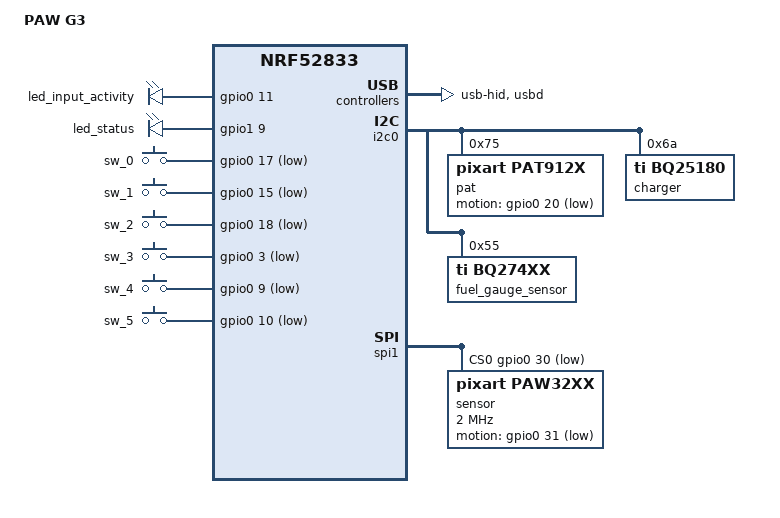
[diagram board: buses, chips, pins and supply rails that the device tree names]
/dts-v1/;
#include <nordic/nrf52833_qdaa.dtsi>
#include "paw_g3-pinctrl.dtsi"
#include <zephyr/dt-bindings/battery/battery.h>
#include <zephyr/dt-bindings/input/input-event-codes.h>
#include <dt-bindings/hid.h>

/ {
	model = "PAW G3";
	compatible = "balto,paw-testboard";

	chosen {
		zephyr,sram = &sram0;
		zephyr,flash = &flash0;
		zephyr,code-partition = &slot0_partition;
	};

	leds {
		compatible = "gpio-leds";
		led_input_activity: led_b {
			gpios = <&gpio0 11 GPIO_ACTIVE_HIGH>;
		};
		led_status: led_a {
			gpios = <&gpio1 9 GPIO_ACTIVE_HIGH>;
		};
	};

	buttons: buttons {
		compatible = "gpio-keys";
		debounce-interval-ms = <3>;

		sw_0 {
			gpios = <&gpio0 17 (GPIO_PULL_UP | GPIO_ACTIVE_LOW)>;
			zephyr,code = <INPUT_BTN_MIDDLE>;
		};
		sw_1 {
			gpios = <&gpio0 15 (GPIO_PULL_UP | GPIO_ACTIVE_LOW)>;
			zephyr,code = <INPUT_BTN_RIGHT>;
		};
		sw_2 {
			gpios = <&gpio0 18 (GPIO_PULL_UP | GPIO_ACTIVE_LOW)>;
			zephyr,code = <INPUT_BTN_LEFT>;
		};

		sw_3 {
			gpios = <&gpio0 3 (GPIO_PULL_UP | GPIO_ACTIVE_LOW)>;
			zephyr,code = <INPUT_BTN_EXTRA>;
		};
		sw_4 {
			gpios = <&gpio0 9 (GPIO_PULL_UP | GPIO_ACTIVE_LOW)>;
			zephyr,code = <INPUT_BTN_TASK>;
		};
		sw_5 {
			gpios = <&gpio0 10 (GPIO_PULL_UP | GPIO_ACTIVE_LOW)>;
			zephyr,code = <INPUT_BTN_SIDE>;
		};
	};

	hid {
		compatible = "hid";
		input {
			hid-mouse {
				compatible = "hid-mouse";
				input = <&paw &pat &buttons>;
				input-id = <1>;
				feature-id = <2>;
				report = <HID_MOUSE_REPORT_HI_RES_WHEEL(1, 2)>;
			};
		};
		output {
			hid-hog {
				compatible = "hid-hog";
			};
			usb-hid {
				compatible = "usb-hid";
				usb-hid-dev = <&hid_dev_0>;
			};
		};
	};

	hid_dev_0: hid_dev_0 {
		compatible = "zephyr,hid-device";
		interface-name = "HID0";
		in-report-size = <16>;
		in-polling-period-us = <1000>;
	};

	ble-unpair {
		input = <&buttons>;
		compatible = "ble-unpair";
		key-a = <INPUT_BTN_LEFT>;
		key-b = <INPUT_BTN_RIGHT>;
	};
};

&uicr {
	nfct-pins-as-gpios;
};

&reg1 {
	regulator-initial-mode = <NRF5X_REG_MODE_DCDC>;
};

&gpiote {
	status = "okay";
};

&gpio0 {
	status = "okay";
};

&gpio1 {
	status = "okay";
};

&i2c0 {
	compatible = "nordic,nrf-twi";
	status = "okay";
	pinctrl-0 = <&i2c0_default>;
	pinctrl-1 = <&i2c0_sleep>;
	pinctrl-names = "default", "sleep";

	pat: pat@75 {
		compatible = "pixart,pat912x";
		reg = <0x75>;
		motion-gpios = <&gpio0 20 GPIO_ACTIVE_LOW>;
		zephyr,axis-x = <INPUT_REL_WHEEL>;
		res-x-cpi = <50>;
		res-y-cpi = <50>;
		invert-x;
	};

	charger: bq25180@6a {
		compatible = "ti,bq25180";
		reg = <0x6a>;
		constant-charge-current-max-microamp = <500000>;
	};

	fuel_gauge_sensor: bq27427@55 {
		compatible = "ti,bq274xx";
		reg = <0x55>;
		design-voltage = <3700>;
		design-capacity = <500>;
		taper-current = <45>;
		terminate-voltage = <3000>;
	};
};

&spi1 {
	compatible = "nordic,nrf-spi";
	status = "okay";
	pinctrl-0 = <&spi1_default>;
	pinctrl-1 = <&spi1_sleep>;
	pinctrl-names = "default", "sleep";

	cs-gpios = <&gpio0 30 GPIO_ACTIVE_LOW>;

	sensor: paw: paw3222@0 {
		compatible = "pixart,paw32xx";
		reg = <0>;
		spi-max-frequency = <DT_FREQ_M(2)>;
		motion-gpios = <&gpio0 31 GPIO_ACTIVE_LOW>;
		zephyr,axis-x = <INPUT_REL_X>;
		zephyr,axis-y = <INPUT_REL_Y>;
		res-cpi = <800>;
		invert-y;
	};
};

&flash0 {
	partitions {
		compatible = "fixed-partitions";
		#address-cells = <1>;
		#size-cells = <1>;

		boot_partition: partition@0 {
			label = "mcuboot";
			reg = <0x00000000 0x8000>;
		};
		slot0_partition: partition@8000 {
			label = "image-0";
			reg = <0x00008000 0x3b000>;
		};
		slot1_partition: partition@42000 {
			label = "image-1";
			reg = <0x00043000 0x39000>;
		};
		storage_partition: partition@7c000 {
			label = "storage";
			reg = <0x0007c000 0x00004000>;
		};
	};
};

zephyr_udc0: &usbd {
	compatible = "nordic,nrf-usbd";
	status = "okay";
};
